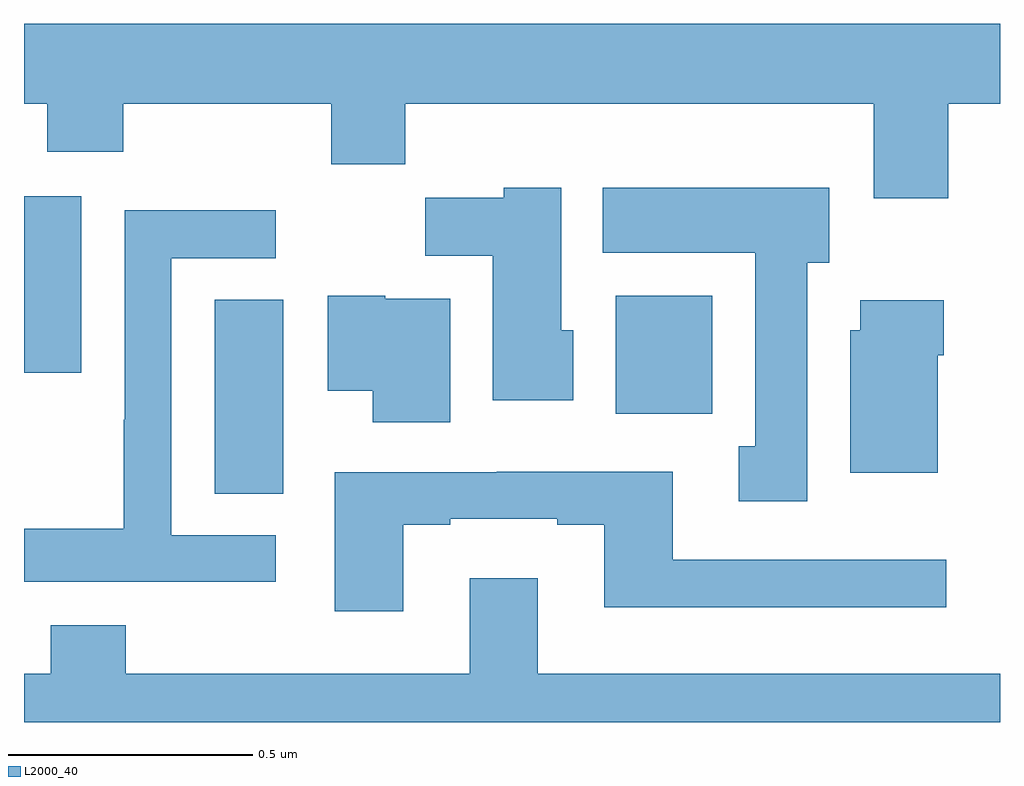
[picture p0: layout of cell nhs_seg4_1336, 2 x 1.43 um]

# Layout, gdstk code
import gdstk
lib = gdstk.Library(unit=1e-6, precision=1e-09)
def R(c, l, rs):  # rectangles x0, y0, x1, y1
    for r in rs: c.add(gdstk.rectangle(r[:2], r[2:], *l))
def P(c, l, *ps):  # polygons
    for p in ps: c.add(gdstk.Polygon(p, *l))
L2000_40 = (2000, 40)

nhs_seg4_1336 = lib.new_cell('nhs_seg4_1336')
R(nhs_seg4_1336, L2000_40, [(127.391,781.369,127.531,781.766), (128.213,781.532,128.41,781.774), (127,781.617,127.117,781.978)])
P(nhs_seg4_1336, L2000_40, [(128.894,782.168),(129,782.168),(129,782.332),(127,782.332),(127,782.168),(127.048,782.168),(127.048,782.069),(127.203,782.069),(127.203,782.168),(127.63,782.168),(127.63,782.044),(127.781,782.044),(127.781,782.168),(128.741,782.168),(128.741,781.974),(128.894,781.974)],
  [(128.605,781.842),(128.65,781.842),(128.65,781.996),(128.186,781.996),(128.186,781.862),(128.498,781.862),(128.498,781.466),(128.465,781.466),(128.465,781.353),(128.605,781.353)],
  [(128.125,781.704),(128.101,781.704),(128.101,781.996),(127.983,781.996),(127.983,781.975),(127.822,781.975),(127.822,781.856),(127.961,781.856),(127.961,781.56),(128.125,781.56)],
  [(127.516,781.284),(127.302,781.284),(127.302,781.851),(127.516,781.851),(127.516,781.95),(127.206,781.95),(127.206,781.52),(127.204,781.52),(127.204,781.297),(127,781.297),(127,781.188),(127.516,781.188)],
  [(127.873,781.768),(127.74,781.768),(127.74,781.774),(127.622,781.774),(127.622,781.58),(127.715,781.58),(127.715,781.515),(127.873,781.515)],
  [(128.872,781.652),(128.885,781.652),(128.885,781.765),(128.714,781.765),(128.714,781.704),(128.693,781.704),(128.693,781.412),(128.872,781.412)],
  [(127.777,781.305),(127.873,781.305),(127.873,781.317),(128.093,781.317),(128.093,781.305),(128.189,781.305),(128.189,781.136),(128.89,781.136),(128.89,781.233),(128.329,781.233),(128.329,781.414),(127.969,781.414),(127.969,781.413),(127.637,781.413),(127.637,781.128),(127.777,781.128)],
  [(129,781),(128.053,781),(128.053,781.195),(127.913,781.195),(127.913,781),(127.208,781),(127.208,781.099),(127.055,781.099),(127.055,781),(127,781),(127,780.9),(129,780.9)])

lib.write_gds('nhs_seg4_1336.gds')
